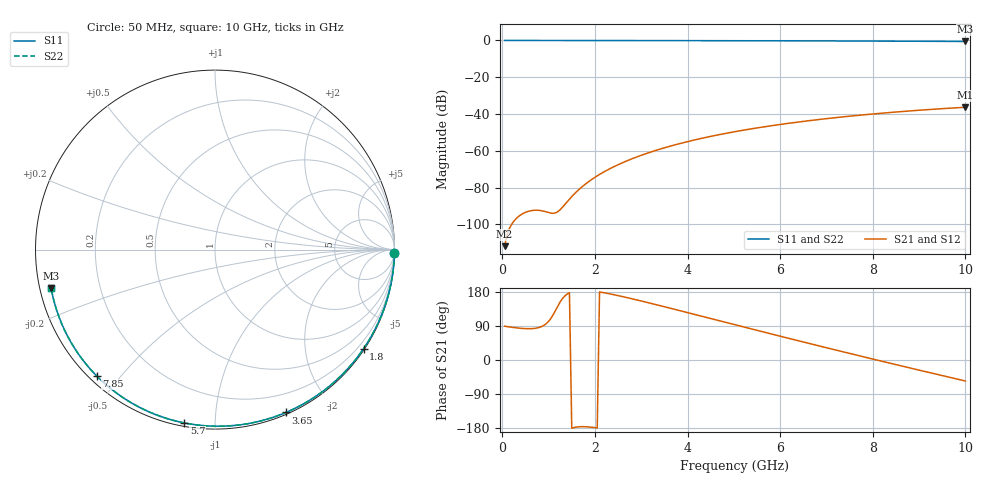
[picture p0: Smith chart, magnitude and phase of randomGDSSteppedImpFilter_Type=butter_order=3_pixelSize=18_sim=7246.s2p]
! freq	dB(S11)	phase(S11)	dB(S12)	phase(S12)
!  dB(S21)	phase(S21)	dB(S22)	phase(S22)
!S-par simulation data
#  GHz  S  DB  R 50
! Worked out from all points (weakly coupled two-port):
!   200 points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, 50 MHz to 10 GHz, reference 50 ohm
!   highest |S21| = -36.34 dB at 10 GHz (marker M1); lowest = -111.9 dB at 50 MHz (marker M2)
!   lowest |S11| = -0.6 dB at 10 GHz (marker M3), VSWR 31.14, Z = 1.63 - j5.77 ohm
!   |S11| at or under -10 dB: nowhere
!   |S22| runs from -0.6 to 0.0 dB; largest |S21 - S12| = 0
!   S11 on the Smith chart (normalised r, x): 50 MHz: open; 1.8 GHz: 0.03, -3.30; 3.65 GHz: 0.02, -1.53; 5.7 GHz: 0.02, -0.84; 7.85 GHz: 0.02, -0.43; 10 GHz: 0.03, -0.12
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0.05  -0.00 -1.0  -111.90 89.1  -111.90 89.1  -0.00 -1.0
0.45  -0.01 -8.6  -94.09 83.1  -94.09 83.1  -0.01 -8.6
0.85  -0.02 -16.1  -92.62 88.3  -92.62 88.3  -0.02 -16.1
1.7  -0.04 -31.9  -80.07 -175.9  -80.07 -175.9  -0.04 -31.8
1.75  -0.04 -32.8  -79.01 -175.9  -79.01 -175.9  -0.04 -32.8
1.8  -0.04 -33.7  -78.01 -176.1  -78.01 -176.1  -0.04 -33.7
2.1  -0.05 -39.1  -72.87 179.6  -72.87 179.6  -0.05 -39.1
2.3  -0.05 -42.8  -70.06 175.1  -70.06 175.1  -0.05 -42.8
2.5  -0.06 -46.3  -67.59 170.0  -67.59 170.0  -0.06 -46.3
2.9  -0.07 -53.4  -63.39 158.7  -63.39 158.7  -0.07 -53.4
3.4  -0.08 -62.2  -59.15 143.7  -59.15 143.7  -0.08 -62.1
3.65  -0.09 -66.4  -57.32 136.0  -57.32 136.0  -0.09 -66.4
4.3  -0.11 -77.4  -53.26 115.7  -53.26 115.7  -0.11 -77.4
5.05  -0.14 -89.7  -49.49 92.3  -49.49 92.3  -0.14 -89.7
5.7  -0.17 -100.0  -46.80 72.1  -46.80 72.1  -0.17 -100.0
6.2  -0.20 -107.9  -45.00 56.7  -45.00 56.7  -0.20 -107.9
6.7  -0.23 -115.6  -43.40 41.4  -43.40 41.4  -0.23 -115.6
7.25  -0.27 -124.0  -41.84 24.8  -41.84 24.8  -0.27 -124.0
7.85  -0.32 -133.2  -40.34 6.9  -40.34 6.9  -0.32 -133.2
8.35  -0.36 -140.8  -39.23 -7.8  -39.23 -7.8  -0.36 -140.8
9.2  -0.46 -154.0  -37.60 -32.5  -37.60 -32.5  -0.46 -154.0
10  -0.56 -166.8  -36.34 -55.4  -36.34 -55.4  -0.56 -166.8
